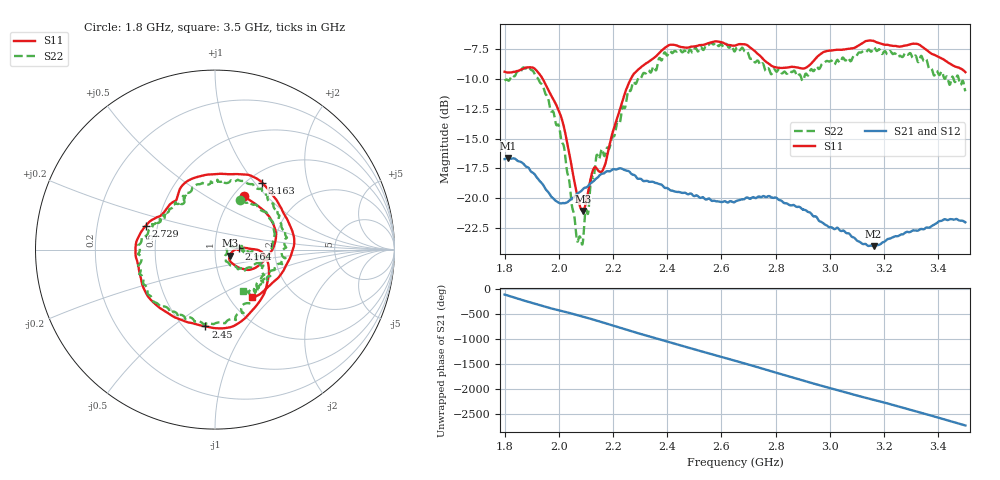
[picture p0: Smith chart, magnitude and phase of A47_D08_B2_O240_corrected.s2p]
! Created with skrf 1.9.0 (http://scikit-rf.org).
# Hz S RI R 50.0
!freq ReS11 ImS11 ReS21 ImS21 ReS12 ImS12 ReS22 ImS22
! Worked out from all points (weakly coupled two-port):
!   1601 points, 1.8 GHz to 3.5 GHz, reference 50 ohm
!   highest |S21| = -16.64 dB at 1.813 GHz (marker M1); lowest = -24.0 dB at 3.161 GHz (marker M2)
!   lowest |S11| = -21.1 dB at 2.088 GHz (marker M3), VSWR 1.19, Z = 58.8 - j3.96 ohm
!   |S11| at or under -10 dB: 1.941 GHz to 2.265 GHz (324.4 MHz wide, 15.4 % of centre)
!   |S22| runs from -23.9 to -6.9 dB; largest |S21 - S12| = 0.0027
!   S11 on the Smith chart (normalised r, x): 1.8 GHz: 1.12, +0.75; 2.164 GHz: 1.31, +0.02; 2.45 GHz: 0.63, -0.66; 2.729 GHz: 0.43, +0.14; 3.163 GHz: 1.16, +1.09; 3.5 GHz: 1.27, -0.76
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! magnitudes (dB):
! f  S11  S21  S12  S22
! 1.8 GHz  -9.4  -16.7  -16.7  -10.1
! 1.813 GHz  -9.5  -16.6  -16.6  -10.1
! 1.887 GHz  -9.0  -17.4  -17.5  -9.0
! 1.941 GHz  -10.0  -18.9  -18.9  -10.6
! 2.011 GHz  -13.4  -20.4  -20.4  -15.3
! 2.065 GHz  -19.4  -19.7  -19.7  -23.2
! 2.084 GHz  -21.0  -19.4  -19.3  -23.7
! 2.088 GHz  -21.1  -19.3  -19.3  -23.8
! 2.137 GHz  -17.4  -18.4  -18.4  -16.7
! 2.164 GHz  -17.6  -17.9  -17.9  -16.3
! 2.262 GHz  -10.1  -17.8  -17.8  -11.0
! 2.367 GHz  -7.9  -18.8  -18.8  -8.4
! 2.45 GHz  -7.3  -19.5  -19.5  -7.6
! 2.65 GHz  -7.2  -20.3  -20.3  -7.6
! 2.729 GHz  -7.8  -20.0  -20.0  -8.5
! 2.803 GHz  -9.0  -20.0  -20.0  -9.4
! 2.934 GHz  -8.6  -21.4  -21.4  -9.2
! 3.161 GHz  -6.8  -24.0  -24.0  -7.4
! 3.163 GHz  -6.8  -24.0  -24.0  -7.3
! 3.217 GHz  -7.1  -23.4  -23.4  -7.7
! 3.325 GHz  -7.1  -22.7  -22.7  -8.6
! 3.5 GHz  -9.4  -22.0  -22.0  -11.0
